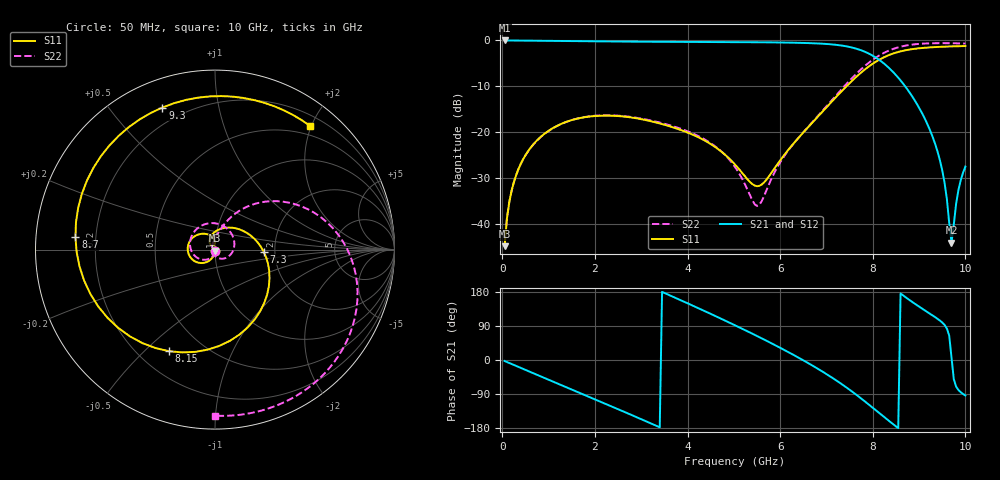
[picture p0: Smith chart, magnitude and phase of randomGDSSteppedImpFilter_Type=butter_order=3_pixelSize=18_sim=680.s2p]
! freq	dB(S11)	phase(S11)	dB(S12)	phase(S12)
!  dB(S21)	phase(S21)	dB(S22)	phase(S22)
!S-par simulation data
#  GHz  S  DB  R 50
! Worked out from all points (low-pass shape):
!   200 points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, 50 MHz to 10 GHz, reference 50 ohm
!   highest |S21| = -0.01 dB at 50 MHz (marker M1); lowest = -44.0 dB at 9.7 GHz (marker M2)
!   |S21| within 3 dB of the highest: start of sweep to 7.943 GHz
!   lowest |S11| = -44.7 dB at 50 MHz (marker M3), VSWR 1.01, Z = 50 - j0.58 ohm
!   |S11| at or under -10 dB: start of sweep to 7.429 GHz
!   |S22| runs from -44.7 to -0.6 dB; largest |S21 - S12| = 0
!   S11 on the Smith chart (normalised r, x): 50 MHz: 1.00, -0.01; 7.3 GHz: 1.74, -0.04; 8.15 GHz: 0.32, -0.60; 8.7 GHz: 0.12, +0.04; 9.3 GHz: 0.12, +0.69; 10 GHz: 0.35, +1.98
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0.05  -44.73 -91.6  -0.01 -2.7  -0.01 -2.7  -44.74 -92.4
0.2  -32.72 -98.7  -0.02 -10.5  -0.02 -10.5  -32.74 -102.0
0.5  -24.96 -112.1  -0.05 -26.1  -0.05 -26.1  -24.99 -120.5
1.15  -18.74 -140.5  -0.13 -59.8  -0.13 -59.8  -18.77 -160.7
1.75  -16.74 -165.1  -0.20 -90.8  -0.20 -90.8  -16.71 161.3
2.5  -16.44 167.3  -0.25 -129.8  -0.25 -129.8  -16.36 111.1
3.4  -18.05 137.8  -0.29 -177.6  -0.29 -177.6  -17.85 45.5
4.15  -20.66 114.6  -0.32 141.4  -0.32 141.4  -20.40 -11.4
5.05  -27.26 90.6  -0.36 90.1  -0.36 90.1  -27.88 -82.3
5.55  -31.62 116.6  -0.39 60.3  -0.39 60.3  -35.75 172.2
6.15  -24.11 119.3  -0.47 22.6  -0.47 22.6  -24.27 90.5
6.7  -17.82 68.5  -0.61 -14.9  -0.61 -14.9  -17.72 72.6
7.3  -11.33 -2.4  -1.07 -61.2  -1.07 -61.2  -10.91 54.7
7.75  -6.98 -60.5  -2.14 -101.6  -2.14 -101.6  -6.25 32.5
8.15  -4.14 -114.3  -4.30 -141.0  -4.30 -141.0  -3.21 7.0
8.35  -3.18 -141.0  -5.98 -160.7  -5.98 -160.7  -2.19 -6.5
8.7  -2.15 174.9  -9.98 166.4  -9.98 166.4  -1.14 -28.9
9.3  -1.47 110.3  -21.17 116.9  -21.17 116.9  -0.61 -60.8
9.55  -1.35 87.7  -30.94 92.7  -30.94 92.7  -0.60 -71.9
9.7  -1.30 75.2  -43.96 6.6  -43.96 6.6  -0.61 -78.2
9.85  -1.25 63.4  -32.51 -79.2  -32.51 -79.2  -0.64 -84.1
10  -1.22 52.4  -27.44 -93.6  -27.44 -93.6  -0.67 -89.9
